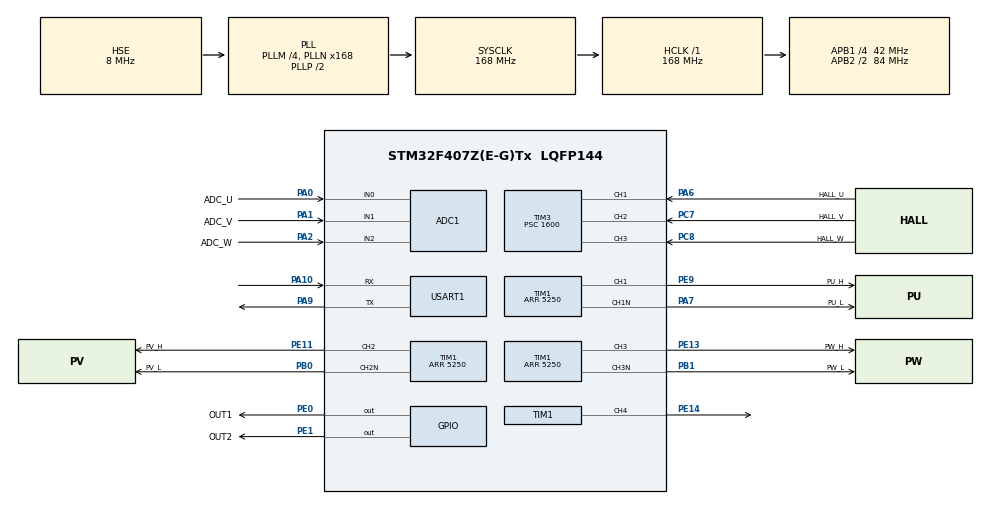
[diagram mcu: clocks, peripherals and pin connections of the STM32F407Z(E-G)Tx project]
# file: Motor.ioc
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ADC1.Channel-0\#ChannelRegularConversion=ADC_CHANNEL_1
ADC1.Channel-1\#ChannelInjectedConversion=ADC_CHANNEL_1
ADC1.Channel-2\#ChannelInjectedConversion=ADC_CHANNEL_2
ADC1.Channel-3\#ChannelInjectedConversion=ADC_CHANNEL_0
ADC1.DataAlign=ADC_DATAALIGN_LEFT
ADC1.EOCSelection=ADC_EOC_SINGLE_CONV
ADC1.ExternalTrigInjecConv=ADC_EXTERNALTRIGINJECCONV_T1_CC4
ADC1.ExternalTrigInjecConvEdge=ADC_EXTERNALTRIGINJECCONVEDGE_RISING
ADC1.InjNumberOfConversion=3
ADC1.InjectedConvMode=None
ADC1.InjectedOffset-1\#ChannelInjectedConversion=0
ADC1.InjectedOffset-2\#ChannelInjectedConversion=0
ADC1.InjectedOffset-3\#ChannelInjectedConversion=0
ADC1.InjectedRank-1\#ChannelInjectedConversion=1
ADC1.InjectedRank-2\#ChannelInjectedConversion=2
ADC1.InjectedRank-3\#ChannelInjectedConversion=3
ADC1.NbrOfConversion=1
ADC1.NbrOfConversionFlag=1
ADC1.Rank-0\#ChannelRegularConversion=1
ADC1.SamplingTime-0\#ChannelRegularConversion=ADC_SAMPLETIME_3CYCLES
ADC1.SamplingTime-1\#ChannelInjectedConversion=ADC_SAMPLETIME_3CYCLES
ADC1.SamplingTime-2\#ChannelInjectedConversion=ADC_SAMPLETIME_3CYCLES
ADC1.SamplingTime-3\#ChannelInjectedConversion=ADC_SAMPLETIME_3CYCLES
ADC1.ScanConvMode=ENABLE
ADC1.master=1
Mcu.Family=STM32F4
Mcu.Name=STM32F407Z(E-G)Tx
Mcu.Package=LQFP144
NVIC.ADC_IRQn=true\:2\:0\:true\:false\:true\:true\:true\:true
NVIC.PriorityGroup=NVIC_PRIORITYGROUP_4
NVIC.TIM1_UP_TIM10_IRQn=true\:0\:0\:true\:false\:true\:true\:true\:true
NVIC.TIM3_IRQn=true\:4\:0\:true\:false\:true\:true\:true\:true
NVIC.TIM6_DAC_IRQn=true\:3\:0\:true\:false\:true\:true\:true\:true
NVIC.USART1_IRQn=true\:1\:0\:true\:false\:true\:true\:true\:true
PA0-WKUP.GPIO_Label=ADC_U
PA0-WKUP.Signal=ADCx_IN0
PA1.GPIO_Label=ADC_V
PA1.Signal=ADCx_IN1
PA10.Mode=Asynchronous
PA10.Signal=USART1_RX
PA13.Mode=Serial_Wire
PA13.Signal=SYS_JTMS-SWDIO
PA14.Mode=Serial_Wire
PA14.Signal=SYS_JTCK-SWCLK
PA2.GPIO_Label=ADC_W
PA2.Signal=ADCx_IN2
PA6.GPIO_Label=HALL_U
PA6.GPIO_Speed=GPIO_SPEED_FREQ_HIGH
PA6.Signal=S_TIM3_CH1
PA7.GPIO_Label=PU_L
PA7.GPIO_Speed=GPIO_SPEED_FREQ_HIGH
PA7.Mode=PWM Generation1 CH1 CH1N
PA7.Signal=TIM1_CH1N
PA9.Mode=Asynchronous
PA9.Signal=USART1_TX
PB0.GPIO_Label=PV_L
PB0.GPIO_Speed=GPIO_SPEED_FREQ_HIGH
PB0.Mode=PWM Generation2 CH2 CH2N
PB0.Signal=TIM1_CH2N
PB1.GPIO_Label=PW_L
PB1.GPIO_Speed=GPIO_SPEED_FREQ_HIGH
PB1.Mode=PWM Generation3 CH3 CH3N
PB1.Signal=TIM1_CH3N
PC7.GPIO_Label=HALL_V
PC7.GPIO_Speed=GPIO_SPEED_FREQ_HIGH
PC7.Signal=S_TIM3_CH2
PC8.GPIO_Label=HALL_W
PC8.GPIO_Speed=GPIO_SPEED_FREQ_HIGH
PC8.Signal=S_TIM3_CH3
PE0.GPIO_Label=OUT1
PE0.GPIO_PuPd=GPIO_NOPULL
PE0.GPIO_Speed=GPIO_SPEED_FREQ_VERY_HIGH
PE0.PinState=GPIO_PIN_SET
PE0.Signal=GPIO_Output
PE1.GPIO_Label=OUT2
PE1.GPIO_Speed=GPIO_SPEED_FREQ_VERY_HIGH
PE1.PinState=GPIO_PIN_SET
PE1.Signal=GPIO_Output
PE11.GPIO_Label=PV_H
PE11.GPIO_Speed=GPIO_SPEED_FREQ_HIGH
PE11.Signal=S_TIM1_CH2
PE13.GPIO_Label=PW_H
PE13.GPIO_Speed=GPIO_SPEED_FREQ_HIGH
PE13.Signal=S_TIM1_CH3
PE14.Signal=S_TIM1_CH4
PE9.GPIO_Label=PU_H
PE9.GPIO_Speed=GPIO_SPEED_FREQ_HIGH
PE9.Signal=S_TIM1_CH1
PH0-OSC_IN.Mode=HSE-External-Oscillator
PH0-OSC_IN.Signal=RCC_OSC_IN
PH1-OSC_OUT.Mode=HSE-External-Oscillator
PH1-OSC_OUT.Signal=RCC_OSC_OUT
ProjectManager.HeapSize=0x200
ProjectManager.StackSize=0x400
ProjectManager.TargetToolchain=MDK-ARM V5.32
RCC.48MHZClocksFreq_Value=84000000
RCC.AHBFreq_Value=168000000
RCC.APB1CLKDivider=RCC_HCLK_DIV4
RCC.APB1Freq_Value=42000000
RCC.APB1TimFreq_Value=84000000
RCC.APB2CLKDivider=RCC_HCLK_DIV2
RCC.APB2Freq_Value=84000000
RCC.APB2TimFreq_Value=168000000
RCC.CortexFreq_Value=168000000
RCC.HCLKFreq_Value=168000000
RCC.HSE_VALUE=8000000
RCC.HSI_VALUE=16000000
RCC.LSE_VALUE=32768
RCC.PLLM=4
RCC.PLLN=168
RCC.PLLSourceVirtual=RCC_PLLSOURCE_HSE
RCC.SYSCLKFreq_VALUE=168000000
RCC.SYSCLKSource=RCC_SYSCLKSOURCE_PLLCLK
RCC.VCOOutputFreq_Value=336000000
SH.ADCx_IN0.0=ADC1_IN0,IN0
SH.ADCx_IN1.0=ADC1_IN1,IN1
SH.ADCx_IN2.0=ADC1_IN2,IN2
SH.S_TIM1_CH1.0=TIM1_CH1,PWM Generation1 CH1 CH1N
SH.S_TIM1_CH2.0=TIM1_CH2,PWM Generation2 CH2 CH2N
SH.S_TIM1_CH3.0=TIM1_CH3,PWM Generation3 CH3 CH3N
SH.S_TIM1_CH4.0=TIM1_CH4,PWM Generation4 CH4
SH.S_TIM3_CH1.0=TIM3_CH1,Xored_Inputs_Hall_Sensor_Interface
SH.S_TIM3_CH2.0=TIM3_CH2,Xored_Inputs_Hall_Sensor_Interface
SH.S_TIM3_CH3.0=TIM3_CH3,Xored_Inputs_Hall_Sensor_Interface
STMicroelectronics.X-CUBE-ALGOBUILD.1.4.0.LibraryCcDSPOoLibraryJjDSPOoLibrary=true
TIM1.AutoReloadPreload=TIM_AUTORELOAD_PRELOAD_ENABLE
TIM1.Channel-PWM\ Generation1\ CH1\ CH1N=TIM_CHANNEL_1
TIM1.Channel-PWM\ Generation2\ CH2\ CH2N=TIM_CHANNEL_2
TIM1.Channel-PWM\ Generation3\ CH3\ CH3N=TIM_CHANNEL_3
TIM1.Channel-PWM\ Generation4\ CH4=TIM_CHANNEL_4
TIM1.ClockDivision=TIM_CLOCKDIVISION_DIV2
TIM1.CounterMode=TIM_COUNTERMODE_CENTERALIGNED1
TIM1.DeadTime=16
TIM1.LockLevel=TIM_LOCKLEVEL_1
TIM1.OCMode_PWM-PWM\ Generation1\ CH1\ CH1N=TIM_OCMODE_PWM2
TIM1.OCMode_PWM-PWM\ Generation2\ CH2\ CH2N=TIM_OCMODE_PWM2
TIM1.OCMode_PWM-PWM\ Generation3\ CH3\ CH3N=TIM_OCMODE_PWM2
TIM1.OCMode_PWM-PWM\ Generation4\ CH4=TIM_OCMODE_PWM2
TIM1.OCNIdleState_1=TIM_OCNIDLESTATE_RESET
TIM1.OCNIdleState_2=TIM_OCNIDLESTATE_RESET
TIM1.OCNIdleState_3=TIM_OCNIDLESTATE_RESET
TIM1.OCNPolarity_1=TIM_OCNPOLARITY_HIGH
TIM1.OCNPolarity_2=TIM_OCNPOLARITY_HIGH
TIM1.OCNPolarity_3=TIM_OCNPOLARITY_HIGH
TIM1.OffStateIDLEMode=TIM_OSSI_ENABLE
TIM1.OffStateRunMode=TIM_OSSR_ENABLE
TIM1.Period=5250
TIM1.Pulse-PWM\ Generation4\ CH4=5250/2
TIM1.TIM_MasterOutputTrigger=TIM_TRGO_OC4REF
TIM3.AutoReloadPreload=TIM_AUTORELOAD_PRELOAD_ENABLE
TIM3.IC1Filter=15
TIM3.IC1Polarity=TIM_ICPOLARITY_FALLING
TIM3.Prescaler=1600
TIM6.AutoReloadPreload=TIM_AUTORELOAD_PRELOAD_ENABLE
TIM6.Period=42000-1
TIM6.Prescaler=2-1
USART1.VirtualMode=VM_ASYNC
VP_STMicroelectronics.X-CUBE-ALGOBUILD_VS_DSPOoLibraryJjLibrary_1.4.0_1.4.0.Mode=DSPOoLibraryJjLibrary
VP_TIM1_VS_ClockSourceINT.Mode=Internal
VP_TIM3_VS_ClockSourceINT.Mode=Internal
VP_TIM6_VS_ClockSourceINT.Mode=Enable_Timer
board=custom

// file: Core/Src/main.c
/* USER CODE BEGIN Header */
/**
 ******************************************************************************
 * @file           : main.c
 * @brief          : Main program body
 ******************************************************************************
 * @attention
 *
 * Copyright (c) 2024 STMicroelectronics.
 * All rights reserved.
 *
 * This software is licensed under terms that can be found in the LICENSE file
 * in the root directory of this software component.
 * If no LICENSE file comes with this software, it is provided AS-IS.
 *
 ******************************************************************************
 */
/* USER CODE END Header */
#include "main.h"
#include "adc.h"
#include "tim.h"
#include "usart.h"
#include "gpio.h"

/* USER CODE BEGIN Includes */
#include "arm_math.h"
#include "stdint.h"
#include "stdlib.h"
#include <math.h>

#include "bsp_cmd.h"
#include "bsp_dwt.h"
#include "bsp_foc.h"
#include "bsp_hall.h"
#include "bsp_usart.h"
#include "bsp_motor.h"

/* USER CODE END Includes */

/* USER CODE BEGIN PTD */

#define FPU_DEBUG 1

/* USER CODE END PTD */

/* USER CODE BEGIN PV */

#ifdef FPU_DEBUG
float fpu_test = 0;
#endif // FPU_DEBUG 1
extern uint32_t tim6_uptate_over;
/* USER CODE END PV */

void SystemClock_Config(void);

/* USER CODE BEGIN 0 */

volatile SystStatus_t State;

/* USER CODE END 0 */

int main(void)
{

    /* MCU Configuration--------------------------------------------------------*/

    /* Reset of all peripherals, Initializes the Flash interface and the Systick. */
    HAL_Init();

    /* Configure the system clock */
    SystemClock_Config();

    /* Initialize all configured peripherals */
    MX_GPIO_Init();
    MX_ADC1_Init();
    MX_TIM1_Init();
    MX_USART1_UART_Init();
    MX_TIM6_Init();
    MX_TIM3_Init();
    /* USER CODE BEGIN 2 */

#ifdef FPU_DEBUG
    fpu_test = arm_cos_f32(3.1415926 / 3); // cos(60)
#endif
    DWT_Init(168);
    HAL_Delay(1000);

    // printf("FOC2804 Application\r\n");
    USART_Init();
    BSP_Hall_Init();
    TIM1_PWM_Init();
    State = INIT;
    /* USER CODE END 2 */

    /* Infinite loop */
    while (1) {

        /* USER CODE BEGIN 3 */
        /* 调节运行状态 */
        switch (State) {
        case INIT:
            MCL_Init();
            HAL_Delay(1000);
            State = START;
            break;

        case START:
            break;

        case RUN:
            /* 超时或者速度异常处理报错 */
            break;

        default:
            break;
        }

        cmd();
        if (tim6_uptate_over % 2 == 0)
            printf("%.2f\n", foc_data_handler.elec_angle);
    }
    /* USER CODE END 3 */
}

void SystemClock_Config(void)
{
    RCC_OscInitTypeDef RCC_OscInitStruct = {0};
    RCC_ClkInitTypeDef RCC_ClkInitStruct = {0};

    /** Configure the main internal regulator output voltage
     */
    __HAL_RCC_PWR_CLK_ENABLE();
    __HAL_PWR_VOLTAGESCALING_CONFIG(PWR_REGULATOR_VOLTAGE_SCALE1);

    /** Initializes the RCC Oscillators according to the specified parameters
     * in the RCC_OscInitTypeDef structure.
     */
    RCC_OscInitStruct.OscillatorType = RCC_OSCILLATORTYPE_HSE;
    RCC_OscInitStruct.HSEState = RCC_HSE_ON;
    RCC_OscInitStruct.PLL.PLLState = RCC_PLL_ON;
    RCC_OscInitStruct.PLL.PLLSource = RCC_PLLSOURCE_HSE;
    RCC_OscInitStruct.PLL.PLLM = 4;
    RCC_OscInitStruct.PLL.PLLN = 168;
    RCC_OscInitStruct.PLL.PLLP = RCC_PLLP_DIV2;
    RCC_OscInitStruct.PLL.PLLQ = 4;
    if (HAL_RCC_OscConfig(&RCC_OscInitStruct) != HAL_OK) {
        Error_Handler();
    }

    /** Initializes the CPU, AHB and APB buses clocks
     */
    RCC_ClkInitStruct.ClockType = RCC_CLOCKTYPE_HCLK | RCC_CLOCKTYPE_SYSCLK | RCC_CLOCKTYPE_PCLK1 | RCC_CLOCKTYPE_PCLK2;
    RCC_ClkInitStruct.SYSCLKSource = RCC_SYSCLKSOURCE_PLLCLK;
    RCC_ClkInitStruct.AHBCLKDivider = RCC_SYSCLK_DIV1;
    RCC_ClkInitStruct.APB1CLKDivider = RCC_HCLK_DIV4;
    RCC_ClkInitStruct.APB2CLKDivider = RCC_HCLK_DIV2;

    if (HAL_RCC_ClockConfig(&RCC_ClkInitStruct, FLASH_LATENCY_5) != HAL_OK) {
        Error_Handler();
    }
}

void Error_Handler(void)
{
    __disable_irq();
    while (1) {
    }
}
